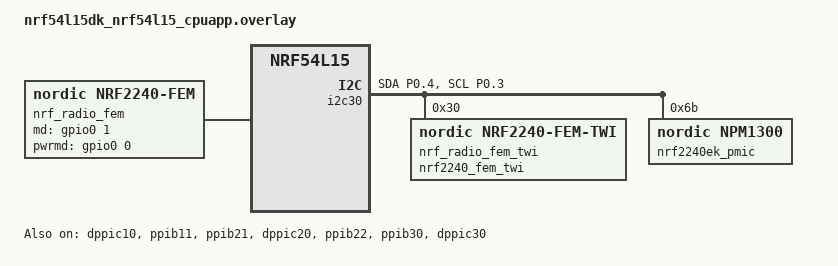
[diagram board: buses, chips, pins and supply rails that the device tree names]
/* Copyright (c) 2024 Nordic Semiconductor ASA
 *
 * SPDX-License-Identifier: LicenseRef-Nordic-5-Clause
 */

/* Pin mapping suitable for use nRF2240-EK PCA63564 with nRF54L15DK.
 * The nRF2240-EK in Port P0.
 *
 * Important:
 * On the nRF54L15 Development Kit pins P0.00...P0.03 are
 * connected to the debugger chip and by default connect UART0 of the
 * debugger chip to the nRF54L15. The UART0 function (VCOM0) of the debugger
 * chip must be disabled to allow the pins to be used as FEM control signals
 * and FEM I2C interface. The "Board Configurator" tool (v0.3.7) being part of
 * "nRF Connect for Desktop" bundle can be used for this purpose.
 *
 * On the nRF54L15 Development Kit pin P0.04 is connected also to "Button 3".
 * Please do not press this button while the firmware nRF2240-EK containing
 * the code with this shield is running.
 */

/ {
	nrf_radio_fem: nrf2240_fem {
		compatible = "nordic,nrf2240-fem";
		cs-gpios = <&gpio0 2 GPIO_ACTIVE_HIGH>;
		md-gpios = <&gpio0 1 GPIO_ACTIVE_HIGH>;
		pwrmd-gpios = <&gpio0 0 GPIO_ACTIVE_HIGH>;
		twi-if = <&nrf_radio_fem_twi>;
	};
};

&i2c30 {
	status = "okay";

	pinctrl-0 = <&i2c30_default>;
	pinctrl-1 = <&i2c30_sleep>;
	pinctrl-names = "default", "sleep";

	nrf_radio_fem_twi: nrf2240_fem_twi@30 {
		compatible = "nordic,nrf2240-fem-twi";
		status = "okay";
		reg = <0x30>;
	};

	/* The nPM1300 on the nRF2240EK is used to supply power to the nRF2240 device. */
	nrf2240ek_pmic: pmic@6b {
		compatible = "nordic,npm1300";
		status = "okay";
		reg = <0x6b>;

		nrf2240ek_pmic_charger: charger {
			compatible = "nordic,npm1300-charger";
			status = "okay";
			/* When objects are placed close to the PCB antenna of the nRF2240EK shield
			 * the supply voltage drops on the nRF2240 power supply pin VDDPALDO were
			 * observed. As a workaround the current limit on VBUS of the PMIC
			 * is increased.
			 */
			vbus-limit-microamp = <500000>;
			/* This PMIC does not have a battery, but the settings below are required
			 * by the driver
			 */
			term-microvolt = <4150000>;
			current-microamp = <150000>;
			dischg-limit-microamp = <1000000>;
			thermistor-ohms = <10000>;
			thermistor-beta = <3380>;
		};
	};
};

&pinctrl {
	i2c30_default: i2c30_default {
		group1 {
			psels = <NRF_PSEL(TWIM_SDA, 0, 4)>,
				<NRF_PSEL(TWIM_SCL, 0, 3)>;
			bias-pull-up;
		};
	};

	i2c30_sleep: i2c30_sleep {
		group1 {
			psels = <NRF_PSEL(TWIM_SDA, 0, 4)>,
				<NRF_PSEL(TWIM_SCL, 0, 3)>;
			low-power-enable;
		};
	};
};

&dppic10 {
	status = "okay";
};

&ppib11 {
	status = "okay";
};

&ppib21 {
	status = "okay";
};

&dppic20 {
	status = "okay";
};

&ppib22 {
	status = "okay";
};

&ppib30 {
	status = "okay";
};

&dppic30 {
	status = "okay";
};
